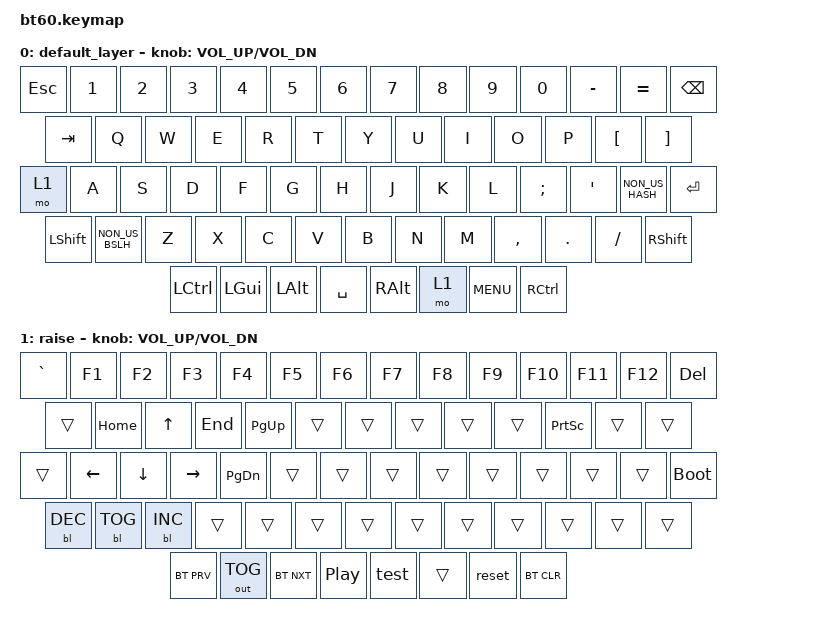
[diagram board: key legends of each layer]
#include <behaviors.dtsi>
#include <dt-bindings/zmk/keys.h>
#include <dt-bindings/zmk/bt.h>
#include <dt-bindings/zmk/backlight.h>
#include <dt-bindings/zmk/outputs.h>

&mt {
	tapping-term-ms = <400>;
};
/ {
	macros {
		test: test {
			label = "Test";
			compatible = "zmk,behavior-macro";
			#binding-cells = <0>;
			bindings
				= <&macro_press &kp LSHFT>
				, <&macro_tap &kp A>
				, <&macro_release &kp LSHFT>
				, <&macro_tap &kp N>
				, <&macro_tap &kp D>
				, <&macro_tap &kp Y>
				;
		};
	};
};
/ {
	keymap {
		compatible = "zmk,keymap";

		default_layer {
				// ------------------------------------------------------------------------------------------
				// |  `  |  1  |  2  |  3  |  4  |  5  |  6  |  7  |  8  |  9  |  0  |  -  |  =  |   BKSP
				// | TAB  |  Q  |  W  |  E  |  R  |  T  |  Y  |  U  |  I  |  O  |  P  |  [  |  ]  |        |
				// | CAPS  |  A  |  S  |  D  |  F  |  G  |  H  |  J  |  K  |  L  |  ;  |  '  |  #  | ENTER |
				// |  SHIFT|  \ |  Z  |  X  |  C  |  V  |  B  |  N  |  M  |  ,  |  .  | /   |    SHIFT    |
				// |  CTL  |  WIN  |  ALT  |            SPACE               | ALT | 1    |  MENU    |  CTRL|
				// ------------------------------------------------------------------------------------------
			bindings = <

				&kp ESC &kp N1 &kp N2 &kp N3 &kp N4 &kp N5 &kp N6 &kp N7 &kp  N8   &kp  N9 &kp  N0  &kp MINUS &kp EQUAL &kp BSPC
				&kp TAB  &kp Q  &kp W  &kp E  &kp R  &kp T  &kp Y  &kp U  &kp  I    &kp  O  &kp  P   &kp LBKT &kp RBKT
				&mo 1  &kp A  &kp S  &kp D  &kp F  &kp G  &kp H  &kp J  &kp  K    &kp  L  &kp SEMI &kp SQT &kp NON_US_HASH  &kp RET
				&kp LSHFT &kp NON_US_BSLH &kp Z  &kp X  &kp C  &kp V  &kp B  &kp N  &kp M  &kp COMMA &kp DOT &kp FSLH         &kp RSHFT
				&kp LCTRL &kp LGUI &kp LALT            &kp SPACE                          &kp RALT  &mo 1 &kp C_MENU    &kp RCTRL
			>;
			sensor-bindings = <&inc_dec_kp C_VOL_UP C_VOL_DN>;
		};
		raise {
			bindings = <
				&kp GRAVE &kp F1 &kp F2 &kp F3 &kp F4 &kp F5 &kp F6 &kp F7 &kp F8 &kp F9 &kp F10 &kp F11 &kp F12 &kp DEL
				&trans &kp HOME &kp UP &kp END &kp PG_UP &trans &trans &trans &trans &trans &kp PSCRN &trans &trans
				&trans    &kp LEFT &kp DOWN &kp RIGHT &kp PG_DN &trans &trans &trans &trans &trans &trans  &trans &trans  &bootloader
				&bl BL_DEC &bl BL_TOG &bl BL_INC &trans &trans &trans &trans &trans &trans &trans &trans &trans  &trans
				&bt BT_PRV &out OUT_TOG  &bt BT_NXT              &kp C_PLAY_PAUSE                            &test   &trans   &reset &bt BT_CLR
			>;
			sensor-bindings = <&inc_dec_kp C_VOL_UP C_VOL_DN>;
		};
	};
};
